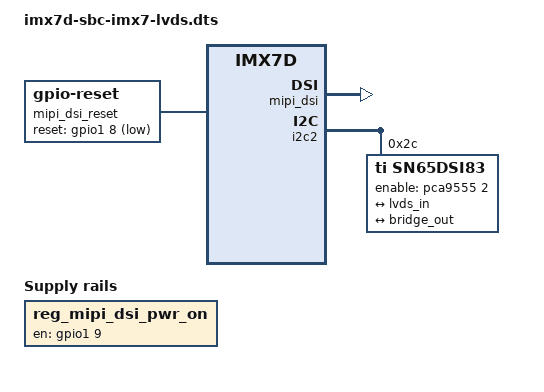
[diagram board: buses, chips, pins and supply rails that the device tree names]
/*
 * Copyright (C) 2017 CompuLab Ltd.
 *
 * This program is free software; you can redistribute it and/or modify
 * it under the terms of the GNU General Public License version 2 as
 * published by the Free Software Foundation.
 */

#include "imx7d-sbc-imx7.dts"

/ {

	mipi_dsi_reset: mipi-dsi-reset {
		compatible = "gpio-reset";
		reset-gpios = <&gpio1 8 GPIO_ACTIVE_LOW>; /* Unused gpio - routed to P4_21 */
		reset-delay-us = <100>;
		#reset-cells = <0>;
	};

	regulators {
		reg_mipi_dsi_pwr_on: mipi_dsi_pwr_on {
			compatible = "regulator-fixed";
			regulator-name = "mipi_dsi_pwr_on";
			gpio = <&gpio1 9 GPIO_ACTIVE_HIGH>;  /* Unused gpio - routed to P4_23 */
			enable-active-high;
		};
	};
};

&lcdif {
	disp-dev = "mipi_dsi_samsung";
};

&mipi_dsi {
	lcd_panel = "SN65DSI_default";
	disp-power-on-supply = <&reg_mipi_dsi_pwr_on>;
	resets = <&mipi_dsi_reset>;
	status = "okay";
};

&i2c2 {
	sn65dsi83: sn65dsi83@2c {
		compatible = "ti,sn65dsi83";
		reg = <0x2c>;
		depends = "/soc/aips-bus@30800000/i2c@30a30000/pca9555@20";
		enable-gpios = <&pca9555 2 GPIO_ACTIVE_HIGH>;
		status = "okay";

		port {
			bridge_out: endpoint{
				remote-endpoint = <&lvds_in>;
			};
		};

		lvds_panel {
			port {
				lvds_in: endpoint{
					remote-endpoint = <&bridge_out>;
				};
			};
		};
	};
};
